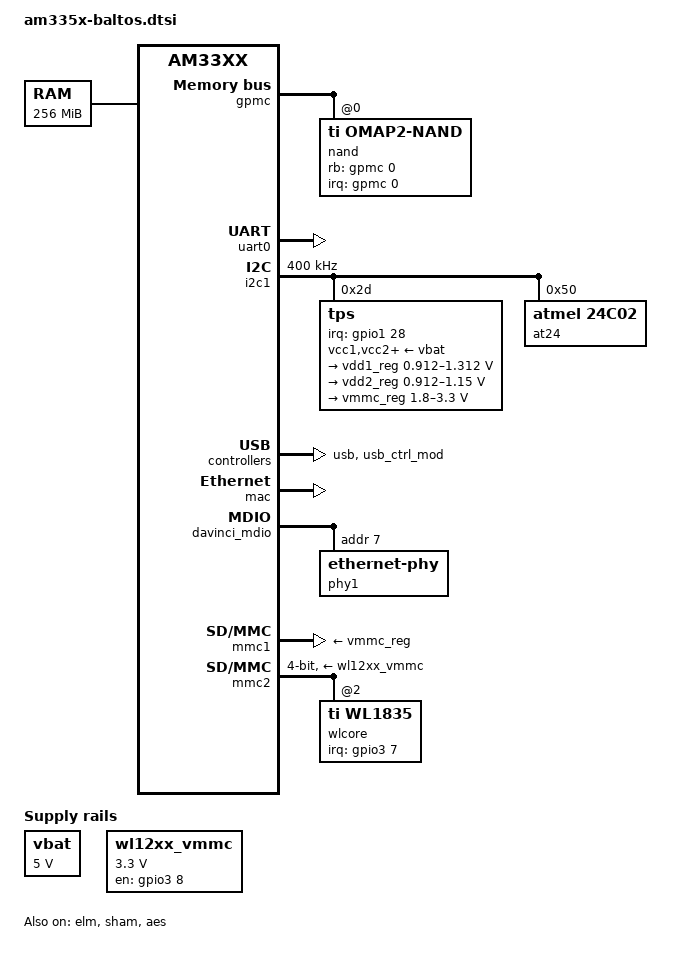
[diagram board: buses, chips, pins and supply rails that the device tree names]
/*
 * Copyright (C) 2012 Texas Instruments Incorporated - http://www.ti.com/
 *
 * This program is free software; you can redistribute it and/or modify
 * it under the terms of the GNU General Public License version 2 as
 * published by the Free Software Foundation.
 */

/*
 * VScom OnRISC
 * http://www.vscom.de
 */

#include "am33xx.dtsi"
#include <dt-bindings/pwm/pwm.h>
#include <dt-bindings/interrupt-controller/irq.h>

/ {
	compatible = "vscom,onrisc", "ti,am33xx";

	cpus {
		cpu@0 {
			cpu0-supply = <&vdd1_reg>;
		};
	};

	memory@80000000 {
		device_type = "memory";
		reg = <0x80000000 0x10000000>; /* 256 MB */
	};

	vbat: fixedregulator0 {
		compatible = "regulator-fixed";
		regulator-name = "vbat";
		regulator-min-microvolt = <5000000>;
		regulator-max-microvolt = <5000000>;
		regulator-boot-on;
	};

	wl12xx_vmmc: fixedregulator2 {
		pinctrl-names = "default";
		pinctrl-0 = <&wl12xx_gpio>;
		compatible = "regulator-fixed";
		regulator-name = "vwl1271";
		regulator-min-microvolt = <3300000>;
		regulator-max-microvolt = <3300000>;
		gpio = <&gpio3 8 0>;
		startup-delay-us = <70000>;
		enable-active-high;
	};
};

&am33xx_pinmux {
	mmc2_pins: pinmux_mmc2_pins {
		pinctrl-single,pins = <
			AM33XX_IOPAD(0x820, PIN_INPUT_PULLUP | MUX_MODE2)      /* gpmc_ad8.mmc1_dat0_mux0 */
			AM33XX_IOPAD(0x824, PIN_INPUT_PULLUP | MUX_MODE2)      /* gpmc_ad9.mmc1_dat1_mux0 */
			AM33XX_IOPAD(0x828, PIN_INPUT_PULLUP | MUX_MODE2)      /* gpmc_ad10.mmc1_dat2_mux0 */
			AM33XX_IOPAD(0x82c, PIN_INPUT_PULLUP | MUX_MODE2)      /* gpmc_ad11.mmc1_dat3_mux0 */
			AM33XX_IOPAD(0x880, PIN_INPUT_PULLUP | MUX_MODE2)      /* gpmc_csn1.mmc1_clk_mux0 */
			AM33XX_IOPAD(0x884, PIN_INPUT_PULLUP | MUX_MODE2)      /* gpmc_csn2.mmc1_cmd_mux0 */
			AM33XX_IOPAD(0x9e4, PIN_INPUT_PULLUP | MUX_MODE7)      /* emu0.gpio3[7] */
		>;
	};

	wl12xx_gpio: pinmux_wl12xx_gpio {
		pinctrl-single,pins = <
			AM33XX_IOPAD(0x9e8, PIN_OUTPUT_PULLUP | MUX_MODE7)      /* emu1.gpio3[8] */
		>;
	};

	tps65910_pins: pinmux_tps65910_pins {
		pinctrl-single,pins = <
			AM33XX_IOPAD(0x878, PIN_INPUT_PULLUP | MUX_MODE7)      /* gpmc_ben1.gpio1[28] */
		>;
	};

	i2c1_pins: pinmux_i2c1_pins {
		pinctrl-single,pins = <
			AM33XX_IOPAD(0x958, PIN_INPUT | MUX_MODE2)      /* spi0_d1.i2c1_sda_mux3 */
			AM33XX_IOPAD(0x95c, PIN_INPUT | MUX_MODE2)      /* spi0_cs0.i2c1_scl_mux3 */
		>;
	};

	uart0_pins: pinmux_uart0_pins {
		pinctrl-single,pins = <
			AM33XX_IOPAD(0x970, PIN_INPUT_PULLUP | MUX_MODE0)	/* uart0_rxd.uart0_rxd */
			AM33XX_IOPAD(0x974, PIN_OUTPUT_PULLDOWN | MUX_MODE0)		/* uart0_txd.uart0_txd */
		>;
	};

	cpsw_default: cpsw_default {
		pinctrl-single,pins = <
			/* Slave 1 */
			AM33XX_IOPAD(0x90c, PIN_INPUT_PULLDOWN | MUX_MODE1)       /* mii1_crs.rmii1_crs_dv */
			AM33XX_IOPAD(0x914, PIN_OUTPUT_PULLDOWN | MUX_MODE1)      /* mii1_tx_en.rmii1_txen */
			AM33XX_IOPAD(0x924, PIN_OUTPUT_PULLDOWN | MUX_MODE1)      /* mii1_txd1.rmii1_txd1 */
			AM33XX_IOPAD(0x928, PIN_OUTPUT_PULLDOWN | MUX_MODE1)      /* mii1_txd0.rmii1_txd0 */
			AM33XX_IOPAD(0x93c, PIN_INPUT_PULLDOWN | MUX_MODE1)      /* mii1_rxd1.rmii1_rxd1 */
			AM33XX_IOPAD(0x940, PIN_INPUT_PULLDOWN | MUX_MODE1)      /* mii1_rxd0.rmii1_rxd0 */
			AM33XX_IOPAD(0x944, PIN_INPUT_PULLDOWN | MUX_MODE0)      /* rmii1_ref_clk.rmii1_refclk */


			/* Slave 2 */
			AM33XX_IOPAD(0x840, PIN_OUTPUT_PULLDOWN | MUX_MODE2)	/* gpmc_a0.rgmii2_tctl */
			AM33XX_IOPAD(0x844, PIN_INPUT_PULLDOWN | MUX_MODE2)	/* gpmc_a1.rgmii2_rctl */
			AM33XX_IOPAD(0x848, PIN_OUTPUT_PULLDOWN | MUX_MODE2)	/* gpmc_a2.rgmii2_td3 */
			AM33XX_IOPAD(0x84c, PIN_OUTPUT_PULLDOWN | MUX_MODE2)	/* gpmc_a3.rgmii2_td2 */
			AM33XX_IOPAD(0x850, PIN_OUTPUT_PULLDOWN | MUX_MODE2)	/* gpmc_a4.rgmii2_td1 */
			AM33XX_IOPAD(0x854, PIN_OUTPUT_PULLDOWN | MUX_MODE2)	/* gpmc_a5.rgmii2_td0 */
			AM33XX_IOPAD(0x858, PIN_OUTPUT_PULLDOWN | MUX_MODE2)	/* gpmc_a6.rgmii2_tclk */
			AM33XX_IOPAD(0x85c, PIN_INPUT_PULLDOWN | MUX_MODE2)	/* gpmc_a7.rgmii2_rclk */
			AM33XX_IOPAD(0x860, PIN_INPUT_PULLDOWN | MUX_MODE2)	/* gpmc_a8.rgmii2_rd3 */
			AM33XX_IOPAD(0x864, PIN_INPUT_PULLDOWN | MUX_MODE2)	/* gpmc_a9.rgmii2_rd2 */
			AM33XX_IOPAD(0x868, PIN_INPUT_PULLDOWN | MUX_MODE2)	/* gpmc_a10.rgmii2_rd1 */
			AM33XX_IOPAD(0x86c, PIN_INPUT_PULLDOWN | MUX_MODE2)	/* gpmc_a11.rgmii2_rd0 */
		>;
	};

	cpsw_sleep: cpsw_sleep {
		pinctrl-single,pins = <
			/* Slave 1 reset value */
			AM33XX_IOPAD(0x90c, PIN_INPUT_PULLDOWN | MUX_MODE7)
			AM33XX_IOPAD(0x914, PIN_INPUT_PULLDOWN | MUX_MODE7)
			AM33XX_IOPAD(0x924, PIN_INPUT_PULLDOWN | MUX_MODE7)
			AM33XX_IOPAD(0x928, PIN_INPUT_PULLDOWN | MUX_MODE7)
			AM33XX_IOPAD(0x93c, PIN_INPUT_PULLDOWN | MUX_MODE7)
			AM33XX_IOPAD(0x940, PIN_INPUT_PULLDOWN | MUX_MODE7)
			AM33XX_IOPAD(0x944, PIN_INPUT_PULLDOWN | MUX_MODE7)

			/* Slave 2 reset value*/
			AM33XX_IOPAD(0x840, PIN_INPUT_PULLDOWN | MUX_MODE7)
			AM33XX_IOPAD(0x844, PIN_INPUT_PULLDOWN | MUX_MODE7)
			AM33XX_IOPAD(0x848, PIN_INPUT_PULLDOWN | MUX_MODE7)
			AM33XX_IOPAD(0x84c, PIN_INPUT_PULLDOWN | MUX_MODE7)
			AM33XX_IOPAD(0x850, PIN_INPUT_PULLDOWN | MUX_MODE7)
			AM33XX_IOPAD(0x854, PIN_INPUT_PULLDOWN | MUX_MODE7)
			AM33XX_IOPAD(0x858, PIN_INPUT_PULLDOWN | MUX_MODE7)
			AM33XX_IOPAD(0x85c, PIN_INPUT_PULLDOWN | MUX_MODE7)
			AM33XX_IOPAD(0x860, PIN_INPUT_PULLDOWN | MUX_MODE7)
			AM33XX_IOPAD(0x864, PIN_INPUT_PULLDOWN | MUX_MODE7)
			AM33XX_IOPAD(0x868, PIN_INPUT_PULLDOWN | MUX_MODE7)
			AM33XX_IOPAD(0x86c, PIN_INPUT_PULLDOWN | MUX_MODE7)
		>;
	};

	davinci_mdio_default: davinci_mdio_default {
		pinctrl-single,pins = <
			/* MDIO */
			AM33XX_IOPAD(0x948, PIN_INPUT_PULLUP | SLEWCTRL_FAST | MUX_MODE0)	/* mdio_data.mdio_data */
			AM33XX_IOPAD(0x94c, PIN_OUTPUT_PULLUP | MUX_MODE0)			/* mdio_clk.mdio_clk */
		>;
	};

	davinci_mdio_sleep: davinci_mdio_sleep {
		pinctrl-single,pins = <
			/* MDIO reset value */
			AM33XX_IOPAD(0x948, PIN_INPUT_PULLDOWN | MUX_MODE7)
			AM33XX_IOPAD(0x94c, PIN_INPUT_PULLDOWN | MUX_MODE7)
		>;
	};

	nandflash_pins_s0: nandflash_pins_s0 {
		pinctrl-single,pins = <
			AM33XX_IOPAD(0x800, PIN_INPUT_PULLUP | MUX_MODE0)	/* gpmc_ad0.gpmc_ad0 */
			AM33XX_IOPAD(0x804, PIN_INPUT_PULLUP | MUX_MODE0)	/* gpmc_ad1.gpmc_ad1 */
			AM33XX_IOPAD(0x808, PIN_INPUT_PULLUP | MUX_MODE0)	/* gpmc_ad2.gpmc_ad2 */
			AM33XX_IOPAD(0x80c, PIN_INPUT_PULLUP | MUX_MODE0)	/* gpmc_ad3.gpmc_ad3 */
			AM33XX_IOPAD(0x810, PIN_INPUT_PULLUP | MUX_MODE0)	/* gpmc_ad4.gpmc_ad4 */
			AM33XX_IOPAD(0x814, PIN_INPUT_PULLUP | MUX_MODE0)	/* gpmc_ad5.gpmc_ad5 */
			AM33XX_IOPAD(0x818, PIN_INPUT_PULLUP | MUX_MODE0)	/* gpmc_ad6.gpmc_ad6 */
			AM33XX_IOPAD(0x81c, PIN_INPUT_PULLUP | MUX_MODE0)	/* gpmc_ad7.gpmc_ad7 */
			AM33XX_IOPAD(0x870, PIN_INPUT_PULLUP | MUX_MODE0)	/* gpmc_wait0.gpmc_wait0 */
			AM33XX_IOPAD(0x874, PIN_INPUT_PULLUP | MUX_MODE7)	/* gpmc_wpn.gpio0_30 */
			AM33XX_IOPAD(0x87c, PIN_OUTPUT | MUX_MODE0)		/* gpmc_csn0.gpmc_csn0  */
			AM33XX_IOPAD(0x890, PIN_OUTPUT | MUX_MODE0)		/* gpmc_advn_ale.gpmc_advn_ale */
			AM33XX_IOPAD(0x894, PIN_OUTPUT | MUX_MODE0)		/* gpmc_oen_ren.gpmc_oen_ren */
			AM33XX_IOPAD(0x898, PIN_OUTPUT | MUX_MODE0)		/* gpmc_wen.gpmc_wen */
			AM33XX_IOPAD(0x89c, PIN_OUTPUT | MUX_MODE0)		/* gpmc_be0n_cle.gpmc_be0n_cle */
		>;
	};
};

&elm {
	status = "okay";
};

&gpmc {
	pinctrl-names = "default";
	pinctrl-0 = <&nandflash_pins_s0>;
	ranges = <0 0 0x08000000 0x10000000>;	/* CS0: NAND */
	status = "okay";

	nand@0,0 {
		compatible = "ti,omap2-nand";
		reg = <0 0 4>; /* CS0, offset 0, IO size 4 */
		interrupt-parent = <&gpmc>;
		interrupts = <0 IRQ_TYPE_NONE>, /* fifoevent */
			     <1 IRQ_TYPE_NONE>;	/* termcount */
		rb-gpios = <&gpmc 0 GPIO_ACTIVE_HIGH>; /* gpmc_wait0 */
		nand-bus-width = <8>;
		ti,nand-ecc-opt = "bch8";
		ti,nand-xfer-type = "polled";

		gpmc,device-nand = "true";
		gpmc,device-width = <1>;
		gpmc,sync-clk-ps = <0>;
		gpmc,cs-on-ns = <0>;
		gpmc,cs-rd-off-ns = <44>;
		gpmc,cs-wr-off-ns = <44>;
		gpmc,adv-on-ns = <6>;
		gpmc,adv-rd-off-ns = <34>;
		gpmc,adv-wr-off-ns = <44>;
		gpmc,we-on-ns = <0>;
		gpmc,we-off-ns = <40>;
		gpmc,oe-on-ns = <0>;
		gpmc,oe-off-ns = <54>;
		gpmc,access-ns = <64>;
		gpmc,rd-cycle-ns = <82>;
		gpmc,wr-cycle-ns = <82>;
		gpmc,bus-turnaround-ns = <0>;
		gpmc,cycle2cycle-delay-ns = <0>;
		gpmc,clk-activation-ns = <0>;
		gpmc,wr-access-ns = <40>;
		gpmc,wr-data-mux-bus-ns = <0>;

		#address-cells = <1>;
		#size-cells = <1>;
		ti,elm-id = <&elm>;
	};
};

&uart0 {
	pinctrl-names = "default";
	pinctrl-0 = <&uart0_pins>;

	status = "okay";
};

&i2c1 {
	pinctrl-names = "default";
	pinctrl-0 = <&i2c1_pins>;

	status = "okay";
	clock-frequency = <400000>;

	tps: tps@2d {
		reg = <0x2d>;
		gpio-controller;
		#gpio-cells = <2>;
		interrupt-parent = <&gpio1>;
		interrupts = <28 IRQ_TYPE_EDGE_RISING>;
		pinctrl-names = "default";
		pinctrl-0 = <&tps65910_pins>;
	};

	at24@50 {
		compatible = "atmel,24c02";
		pagesize = <8>;
		reg = <0x50>;
	};
};

&usb {
	status = "okay";
};

&usb_ctrl_mod {
	status = "okay";
};

&cppi41dma  {
	status = "okay";
};

#include "tps65910.dtsi"

&tps {
	vcc1-supply = <&vbat>;
	vcc2-supply = <&vbat>;
	vcc3-supply = <&vbat>;
	vcc4-supply = <&vbat>;
	vcc5-supply = <&vbat>;
	vcc6-supply = <&vbat>;
	vcc7-supply = <&vbat>;
	vccio-supply = <&vbat>;

	ti,en-ck32k-xtal = <1>;

	regulators {
		vrtc_reg: regulator@0 {
			regulator-always-on;
		};

		vio_reg: regulator@1 {
			regulator-always-on;
		};

		vdd1_reg: regulator@2 {
			/* VDD_MPU voltage limits 0.95V - 1.26V with +/-4% tolerance */
			regulator-name = "vdd_mpu";
			regulator-min-microvolt = <912500>;
			regulator-max-microvolt = <1312500>;
			regulator-boot-on;
			regulator-always-on;
		};

		vdd2_reg: regulator@3 {
			/* VDD_CORE voltage limits 0.95V - 1.1V with +/-4% tolerance */
			regulator-name = "vdd_core";
			regulator-min-microvolt = <912500>;
			regulator-max-microvolt = <1150000>;
			regulator-boot-on;
			regulator-always-on;
		};

		vdd3_reg: regulator@4 {
			regulator-always-on;
		};

		vdig1_reg: regulator@5 {
			regulator-always-on;
		};

		vdig2_reg: regulator@6 {
			regulator-always-on;
		};

		vpll_reg: regulator@7 {
			regulator-always-on;
		};

		vdac_reg: regulator@8 {
			regulator-always-on;
		};

		vaux1_reg: regulator@9 {
			regulator-always-on;
		};

		vaux2_reg: regulator@10 {
			regulator-always-on;
		};

		vaux33_reg: regulator@11 {
			regulator-always-on;
		};

		vmmc_reg: regulator@12 {
			regulator-min-microvolt = <1800000>;
			regulator-max-microvolt = <3300000>;
			regulator-always-on;
		};
	};
};

&mac {
	pinctrl-names = "default", "sleep";
	pinctrl-0 = <&cpsw_default>;
	pinctrl-1 = <&cpsw_sleep>;
	dual_emac = <1>;

	status = "okay";
};

&davinci_mdio {
	status = "okay";
	pinctrl-names = "default", "sleep";
	pinctrl-0 = <&davinci_mdio_default>;
	pinctrl-1 = <&davinci_mdio_sleep>;

	phy1: ethernet-phy@1 {
		reg = <7>;
		eee-broken-100tx;
		eee-broken-1000t;
	};
};

&mmc1 {
	vmmc-supply = <&vmmc_reg>;
	status = "okay";
};

&mmc2 {
	status = "okay";
	vmmc-supply = <&wl12xx_vmmc>;
	ti,non-removable;
	bus-width = <4>;
	cap-power-off-card;
	pinctrl-names = "default";
	pinctrl-0 = <&mmc2_pins>;

	#address-cells = <1>;
	#size-cells = <0>;
	wlcore: wlcore@2 {
		compatible = "ti,wl1835";
		reg = <2>;
		interrupt-parent = <&gpio3>;
		interrupts = <7 IRQ_TYPE_LEVEL_HIGH>;
	};
};

&sham {
	status = "okay";
};

&aes {
	status = "okay";
};

&gpio0 {
	ti,no-reset-on-init;
};

&gpio3 {
	ti,no-reset-on-init;
};
